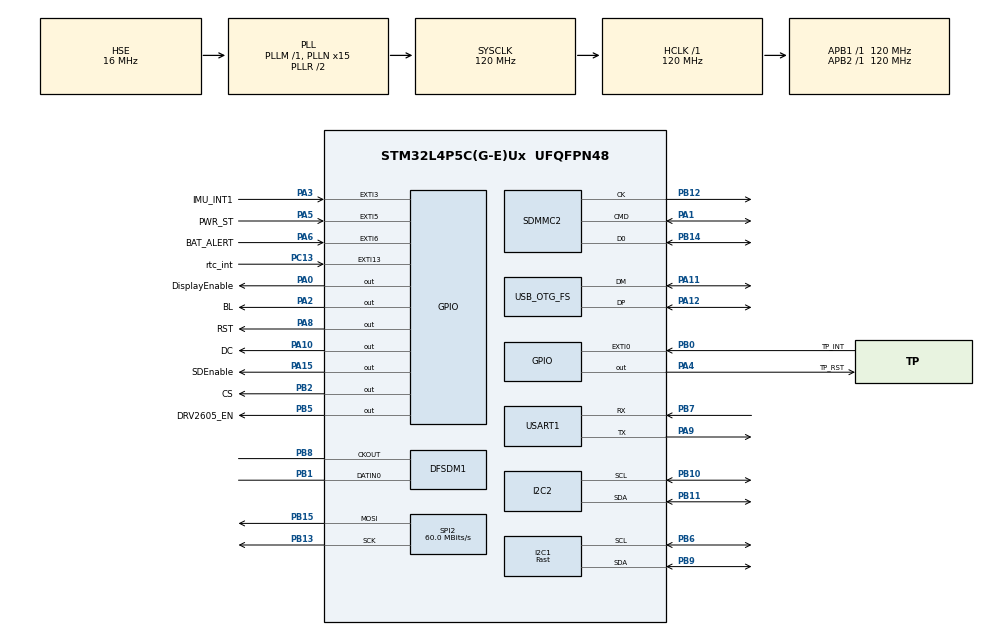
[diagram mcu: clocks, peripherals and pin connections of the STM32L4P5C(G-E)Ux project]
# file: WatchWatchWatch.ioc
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DFSDM1.Divider=60
DFSDM1.DmaMode_reg_FIL0=ENABLE
DFSDM1.FastMode_reg_FIL0=ENABLE
DFSDM1.Filter_regChannel_FIL0=DFSDM_CHANNEL_0
Dma.DFSDM1_FLT0.1.Direction=DMA_PERIPH_TO_MEMORY
Dma.DFSDM1_FLT0.1.EventEnable=DISABLE
Dma.DFSDM1_FLT0.1.Instance=DMA1_Channel2
Dma.DFSDM1_FLT0.1.MemDataAlignment=DMA_MDATAALIGN_WORD
Dma.DFSDM1_FLT0.1.MemInc=DMA_MINC_ENABLE
Dma.DFSDM1_FLT0.1.Mode=DMA_CIRCULAR
Dma.DFSDM1_FLT0.1.PeriphDataAlignment=DMA_PDATAALIGN_WORD
Dma.DFSDM1_FLT0.1.PeriphInc=DMA_PINC_DISABLE
Dma.DFSDM1_FLT0.1.Polarity=HAL_DMAMUX_REQ_GEN_RISING
Dma.DFSDM1_FLT0.1.Priority=DMA_PRIORITY_LOW
Dma.DFSDM1_FLT0.1.RequestNumber=1
Dma.DFSDM1_FLT0.1.SignalID=NONE
Dma.DFSDM1_FLT0.1.SyncEnable=DISABLE
Dma.DFSDM1_FLT0.1.SyncPolarity=HAL_DMAMUX_SYNC_NO_EVENT
Dma.DFSDM1_FLT0.1.SyncRequestNumber=1
Dma.DFSDM1_FLT0.1.SyncSignalID=NONE
Dma.Request0=SPI2_TX
Dma.Request1=DFSDM1_FLT0
Dma.SPI2_TX.0.Direction=DMA_MEMORY_TO_PERIPH
Dma.SPI2_TX.0.EventEnable=DISABLE
Dma.SPI2_TX.0.Instance=DMA1_Channel1
Dma.SPI2_TX.0.MemDataAlignment=DMA_MDATAALIGN_BYTE
Dma.SPI2_TX.0.MemInc=DMA_MINC_ENABLE
Dma.SPI2_TX.0.Mode=DMA_NORMAL
Dma.SPI2_TX.0.PeriphDataAlignment=DMA_PDATAALIGN_BYTE
Dma.SPI2_TX.0.PeriphInc=DMA_PINC_DISABLE
Dma.SPI2_TX.0.Polarity=HAL_DMAMUX_REQ_GEN_RISING
Dma.SPI2_TX.0.Priority=DMA_PRIORITY_LOW
Dma.SPI2_TX.0.RequestNumber=1
Dma.SPI2_TX.0.SignalID=NONE
Dma.SPI2_TX.0.SyncEnable=DISABLE
Dma.SPI2_TX.0.SyncPolarity=HAL_DMAMUX_SYNC_NO_EVENT
Dma.SPI2_TX.0.SyncRequestNumber=1
Dma.SPI2_TX.0.SyncSignalID=NONE
FATFS._USE_LFN=1
I2C1.I2C_Speed_Mode=I2C_Fast
I2C1.Timing=0x10B21F61
I2C2.Timing=0x30A175AB
Mcu.Family=STM32L4
Mcu.Name=STM32L4P5C(G-E)Ux
Mcu.Package=UFQFPN48
NVIC.DMA1_Channel1_IRQn=true\:0\:0\:false\:false\:true\:false\:true\:true
NVIC.DMA1_Channel2_IRQn=true\:0\:0\:false\:false\:true\:false\:true\:true
NVIC.EXTI0_IRQn=true\:0\:0\:false\:false\:true\:true\:true\:true
NVIC.EXTI15_10_IRQn=true\:0\:0\:false\:false\:true\:true\:true\:true
NVIC.EXTI3_IRQn=true\:0\:0\:false\:false\:true\:true\:true\:true
NVIC.EXTI9_5_IRQn=true\:0\:0\:false\:false\:true\:true\:true\:true
NVIC.OTG_FS_IRQn=true\:0\:0\:false\:false\:true\:true\:true\:true
NVIC.PriorityGroup=NVIC_PRIORITYGROUP_4
NVIC.SDMMC2_IRQn=true\:0\:0\:false\:false\:true\:true\:true\:true
NVIC.SPI2_IRQn=true\:0\:0\:false\:false\:true\:true\:true\:true
NVIC.USART1_IRQn=true\:0\:0\:false\:false\:true\:true\:true\:true
PA0.GPIO_Label=DisplayEnable
PA0.GPIO_Speed=GPIO_SPEED_FREQ_MEDIUM
PA0.PinState=GPIO_PIN_SET
PA0.Signal=GPIO_Output
PA1.Mode=SD_1_bit
PA1.Signal=SDMMC2_CMD
PA10.GPIO_Label=DC
PA10.GPIO_Speed=GPIO_SPEED_FREQ_HIGH
PA10.PinState=GPIO_PIN_SET
PA10.Signal=GPIO_Output
PA11.Mode=Device_Only
PA11.Signal=USB_OTG_FS_DM
PA12.Mode=Device_Only
PA12.Signal=USB_OTG_FS_DP
PA13\ (JTMS/SWDIO).Mode=Trace_Asynchronous_SW
PA13\ (JTMS/SWDIO).Signal=SYS_JTMS-SWDIO
PA14\ (JTCK/SWCLK).Mode=Trace_Asynchronous_SW
PA14\ (JTCK/SWCLK).Signal=SYS_JTCK-SWCLK
PA15\ (JTDI).GPIO_Label=SDEnable
PA15\ (JTDI).PinState=GPIO_PIN_SET
PA15\ (JTDI).Signal=GPIO_Output
PA2.GPIO_Label=BL
PA2.PinState=GPIO_PIN_SET
PA2.Signal=GPIO_Output
PA3.GPIO_Label=IMU_INT1
PA3.Signal=GPXTI3
PA4.GPIO_Label=TP_RST
PA4.GPIO_Speed=GPIO_SPEED_FREQ_HIGH
PA4.PinState=GPIO_PIN_SET
PA4.Signal=GPIO_Output
PA5.GPIO_Label=PWR_ST
PA5.Signal=GPXTI5
PA6.GPIO_Label=BAT_ALERT
PA6.Signal=GPXTI6
PA8.GPIO_Label=RST
PA8.GPIO_Speed=GPIO_SPEED_FREQ_HIGH
PA8.PinState=GPIO_PIN_SET
PA8.Signal=GPIO_Output
PA9.Mode=Asynchronous
PA9.Signal=USART1_TX
PB0.GPIO_Label=TP_INT
PB0.Signal=GPXTI0
PB1.Signal=S_DATAIN0DFSDM1
PB10.Mode=I2C
PB10.Signal=I2C2_SCL
PB11.Mode=I2C
PB11.Signal=I2C2_SDA
PB12.Mode=SD_1_bit
PB12.Signal=SDMMC2_CK
PB13.Mode=TX_Only_Simplex_Unidirect_Master
PB13.Signal=SPI2_SCK
PB14.Mode=SD_1_bit
PB14.Signal=SDMMC2_D0
PB15.Mode=TX_Only_Simplex_Unidirect_Master
PB15.Signal=SPI2_MOSI
PB2.GPIO_Label=CS
PB2.GPIO_Speed=GPIO_SPEED_FREQ_HIGH
PB2.Signal=GPIO_Output
PB3\ (JTDO/TRACESWO).Mode=Trace_Asynchronous_SW
PB3\ (JTDO/TRACESWO).Signal=SYS_JTDO-SWO
PB5.GPIO_Label=DRV2605_EN
PB5.Signal=GPIO_Output
PB6.Mode=I2C
PB6.Signal=I2C1_SCL
PB7.Mode=Asynchronous
PB7.Signal=USART1_RX
PB8.Signal=S_CKOUTDFSDM1
PB9.Mode=I2C
PB9.Signal=I2C1_SDA
PC13.GPIO_Label=rtc_int
PC13.GPIO_ModeDefaultEXTI=GPIO_MODE_IT_FALLING
PC13.Signal=GPXTI13
PC14-OSC32_IN\ (PC14).Mode=LSE-External-Oscillator
PC14-OSC32_IN\ (PC14).Signal=RCC_OSC32_IN
PC15-OSC32_OUT\ (PC15).Mode=LSE-External-Oscillator
PC15-OSC32_OUT\ (PC15).Signal=RCC_OSC32_OUT
PH0-OSC_IN\ (PH0).Mode=HSE-External-Oscillator
PH0-OSC_IN\ (PH0).Signal=RCC_OSC_IN
PH1-OSC_OUT\ (PH1).Mode=HSE-External-Oscillator
PH1-OSC_OUT\ (PH1).Signal=RCC_OSC_OUT
ProjectManager.HeapSize=0x200
ProjectManager.StackSize=0x400
ProjectManager.TargetToolchain=CMake
RCC.ADCFreq_Value=96000000
RCC.AHBFreq_Value=120000000
RCC.APB1Freq_Value=120000000
RCC.APB1TimFreq_Value=120000000
RCC.APB2Freq_Value=120000000
RCC.APB2TimFreq_Value=120000000
RCC.CortexFreq_Value=120000000
RCC.DFSDMCLockSelection=RCC_DFSDM1CLKSOURCE_SYSCLK
RCC.HCLKFreq_Value=120000000
RCC.HSE_VALUE=16000000
RCC.HSI48_VALUE=48000000
RCC.HSI_VALUE=16000000
RCC.MSI_VALUE=4000000
RCC.PLLN=15
RCC.PLLP=RCC_PLLP_DIV5
RCC.PLLSAI1N=12
RCC.PLLSAI1Q=RCC_PLLQ_DIV4
RCC.PLLSourceVirtual=RCC_PLLSOURCE_HSE
RCC.SYSCLKFreq_VALUE=120000000
RCC.SYSCLKSource=RCC_SYSCLKSOURCE_PLLCLK
RCC.USBFreq_Value=48000000
RCC.VCOOutputFreq_Value=240000000
SDMMC2.ClockDiv=1
SH.S_CKOUTDFSDM1.0=DFSDM1_CKOUT,PDM_SPI_input_from_ch0_and_internal_clock
SH.S_CKOUTDFSDM1.1=DFSDM1_CKOUT,CKOUT
SH.S_DATAIN0DFSDM1.0=DFSDM1_DATIN0,PDM_SPI_input_from_ch0_and_internal_clock
SPI2.BaudRatePrescaler=SPI_BAUDRATEPRESCALER_2
SPI2.CalculateBaudRate=60.0 MBits/s
SPI2.DataSize=SPI_DATASIZE_8BIT
SPI2.Direction=SPI_DIRECTION_2LINES
SPI2.Mode=SPI_MODE_MASTER
SPI2.VirtualType=VM_MASTER
USART1.VirtualMode-Asynchronous=VM_ASYNC
USB_OTG_FS.VirtualMode=Device_Only
VP_FATFS_VS_SDIO.Mode=SDIO
VP_RCC_USB.Mode=CRS SYNC Source USB
board=custom

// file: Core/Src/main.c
/* USER CODE BEGIN Header */
/**
  ******************************************************************************
  * @file           : main.c
  * @brief          : Main program body
  ******************************************************************************
  * @attention
  *
  * Copyright (c) 2026 STMicroelectronics.
  * All rights reserved.
  *
  * This software is licensed under terms that can be found in the LICENSE file
  * in the root directory of this software component.
  * If no LICENSE file comes with this software, it is provided AS-IS.
  *
  ******************************************************************************
  */
/* USER CODE END Header */
#include "main.h"
#include "dfsdm.h"
#include "dma.h"
#include "fatfs.h"
#include "i2c.h"
#include "sdmmc.h"
#include "spi.h"
#include "usart.h"
#include "usb_otg.h"
#include "gpio.h"

/* USER CODE BEGIN Includes */
#include <stdio.h>
#include "GUI_Paint.h"
#include "fonts.h"
#include "image.h"
#include "LCD_Test.h"
#include "DEV_Config.h"
#include "tusb.h"
#include "rv_3028_c7.h"
#include "lv_port_disp.h"
#include "lvgl/examples/anim/lv_example_anim.h"
#include "UI/ui.h"
#include "serial_cmd.h"
#include "lsm6dsv16x_stepcounter.h"
#include "lsm6dsv16x_reg.h"
#include "cst816t.h"
#include "lv_port_indev.h"
#include "sensors.h"
#include "ui_watch.h"
#include "mic.h"
#include "recorder.h"
#include "sound_detector.h"
#include "power_mon.h"
#include "rtc_tasks.h"
#include "uart_cmd.h"

/* USER CODE END Includes */

/* USER CODE BEGIN PTD */
rv3028_handle_t rtc_handle;        /* RV-3028-C7 RTC handle */

/* USER CODE END PTD */

/* USER CODE BEGIN PV */
extern I2C_HandleTypeDef hi2c1; // I2C handle
extern I2C_HandleTypeDef hi2c2; // touch I2C
extern UART_HandleTypeDef huart1;
uint32_t last_rtc_request_time = 0;
bool g_time_log = false;   /* "-log on" prints the time every second */
bool displayOn = false;
uint32_t display_turn_on_time = 0;

// Lookup table for 3-letter day names (1 = Monday, 7 = Sunday)
const char* days_of_week[] = { "", "Mon", "Tue", "Wed", "Thu", "Fri", "Sat", "Sun" };

#define RX_RING_BUFFER_SIZE 256

volatile uint8_t rx_buffer[RX_RING_BUFFER_SIZE];
volatile uint16_t rx_head = 0;
volatile uint16_t rx_tail = 0;

uint8_t uart1_rx_byte;

// Flags
volatile bool rtc_interrupt_fired = false;
volatile bool rtc_read_complete = false;
#define STEP_UPDATE_INTERVAL_MS   1000U   /* how often to poll/refresh ui_steps */

bool StepCounter_CheckWristTilt(void);
void StepCounter_IRQHandler(void);

/* USER CODE END PV */

void SystemClock_Config(void);

/* USER CODE BEGIN 0 */

void I2C_Scanner(I2C_HandleTypeDef *hi2c) {
    printf("Starting I2C Scanner...\r\n");
    fflush(stdout);
    tud_task();

    HAL_StatusTypeDef res;
    for (uint8_t i = 0; i < 128; i++) {
        res = HAL_I2C_IsDeviceReady(hi2c, (uint16_t)(i << 1), 3, 100);
        if (res == HAL_OK) {
            printf("Device found at address: 0x%02X\r\n", i);
            fflush(stdout);
        }
        tud_task();
    }
    printf("Scanner Complete.\r\n");
    fflush(stdout);
    tud_task();
}

void process_uart_to_usb(void)
{
    // Check if we have data and USB CDC is ready
    if (rx_head != rx_tail && tud_cdc_connected()) {
        uint32_t available_usb_space = tud_cdc_write_available();

        if (available_usb_space > 0) {
            uint8_t temp_buf[64];
            uint32_t count = 0;

            // Pull data from ring buffer
            while (rx_head != rx_tail && count < sizeof(temp_buf) && count < available_usb_space) {
                temp_buf[count++] = rx_buffer[rx_tail];
                rx_tail = (rx_tail + 1) % RX_RING_BUFFER_SIZE;
            }

            // Transmit over USB
            if (count > 0) {
                tud_cdc_write(temp_buf, count);
                tud_cdc_write_flush();
            }
        }
    }
}

void USB_Print(const char *format, ...)
{
    // Don't try to send if the USB isn't connected
    if (!tud_cdc_connected()) {
        return;
    }

    char buffer[128]; // Adjust buffer size if you plan to send very long strings
    va_list args;

    va_start(args, format);
    int len = vsnprintf(buffer, sizeof(buffer), format, args);
    va_end(args);

    if (len > 0) {
        tud_cdc_write(buffer, len);
        tud_cdc_write_flush(); // Force the data to send immediately
    }
}

void USB_Printf(const char *format, ...)
{
    if (!tud_cdc_connected()) return;

    char buffer[128]; // Temporary buffer

    va_list args;
    va_start(args, format);
    vsnprintf(buffer, sizeof(buffer), format, args);
    va_end(args);

    tud_cdc_write_str(buffer);
    tud_cdc_write_flush();
}

/* USER CODE END 0 */

int main(void)
{

  /* MCU Configuration--------------------------------------------------------*/

  /* Reset of all peripherals, Initializes the Flash interface and the Systick. */
  HAL_Init();

  /* Configure the system clock */
  SystemClock_Config();

  /* Initialize all configured peripherals */
  MX_GPIO_Init();
  MX_DMA_Init();
  MX_I2C2_Init();
  MX_SPI2_Init();
  MX_SDMMC2_SD_Init();
  MX_I2C1_Init();
  MX_USB_OTG_FS_PCD_Init();
  MX_USART1_UART_Init();
  MX_DFSDM1_Init();
  MX_FATFS_Init();
  /* USER CODE BEGIN 2 */
  HAL_GPIO_WritePin(BL_GPIO_Port, BL_Pin, GPIO_PIN_RESET);
  HAL_UART_Receive_IT(&huart1, &uart1_rx_byte, 1);

  UART_Cmd_Init(&huart1);

  lv_init();
  lv_port_disp_init();
  CST816T_Init(&hi2c2);          // touch controller (I2C2, INT on PB0)
  lv_port_indev_init();          // feed touch into LVGL
  //lv_example_anim_2();
  ui_init();
  UI_Watch_Init();               // extra pages + swipe navigation
  uint32_t last_step_update_time = 0;
  rv3028_init(&rtc_handle, &hi2c1); //
  bool step_sensor_ok = StepCounter_Init(&hi2c1);

  if (!step_sensor_ok) {

    lv_label_set_text(ui_steps, "--");
  }

  // Screen wake is now done by touch (see rtc_tasks.c), IMU tilt wake removed

  Sensors_Init();                // EEPROM settings, fuel gauge, HDC2010, BMP388, LIS3MDL, DRV2605L
  Power_Init();                  // PA5 USB power status, PA6 battery alert
  Mic_Init();                    // DFSDM: Sinc3 x125 -> 16 kHz, mic clock off until recording
  UI_SoundAI_Boot();             // sound alerts: load network, self-test, start listening

  // Set the initial time in your SquareLine image)
  rv3028_time_t initial_time = {
      .seconds = 0,
      .minutes = 33,
      .hours = 13, // 1:33 PM (using 24-hour format internally)
      .weekday = 2,
      .date = 7,
      .month = 7,
      .year = 26
  };
  // Only set the default time if the RTC has never been set (or lost power),
  // so a reset doesn't wipe the real time.
  rv3028_time_t rtc_now;
  if (rv3028_get_time(&rtc_handle, &rtc_now) != HAL_OK || rtc_now.year < 26 ||
      rtc_now.month < 1 || rtc_now.month > 12) {
    rv3028_set_time(&rtc_handle, &initial_time);
  } else {
    initial_time = rtc_now;
  }

  tusb_rhport_init_t dev_init = {
    .role = TUSB_ROLE_DEVICE,
    .speed = TUSB_SPEED_FULL
  };

  tusb_init(0, &dev_init);

  uint32_t start_time = HAL_GetTick();
  while (!tud_cdc_connected() && (HAL_GetTick() - start_time < 2000)) {
      tud_task(); // Keep processing USB events while waiting
  }

  char init_time_buf[16];
  uint8_t init_hour = initial_time.hours % 12;
  if (init_hour == 0) init_hour = 12;
  snprintf(init_time_buf, sizeof(init_time_buf), "%d:%02d", init_hour, initial_time.minutes);
  lv_label_set_text(ui_Time, init_time_buf);
  USB_Print("testing...\r\n");

  /* USER CODE END 2 */

  /* Infinite loop */
  while (1)
  {

    /* USER CODE BEGIN 3 */
    tud_task();
    CST816T_Process();       // read touch before LVGL / wake logic use it
    lv_timer_handler();
    Process_Serial_Commands();
    Process_UART_Commands();   // nRF52 UART commands
    process_uart_to_usb();
    rtc_tasks(&rtc_handle); // Touch-wake, RTC update, and display timer logic
    Sensors_Task();         // battery, temp/humidity, pressure, compass, haptics
    UI_Watch_Task();        // page updates, countdown timer, notifications
    Recorder_Task();        // mic audio -> WAV file on flash
    SD_Task();              // sound alerts: features + network every 0.48 s
    Power_Task();           // USB plug/unplug, low battery alert

    if (step_sensor_ok && (HAL_GetTick() - last_step_update_time >= STEP_UPDATE_INTERVAL_MS)) {
      last_step_update_time = HAL_GetTick();
      lv_label_set_text_fmt(ui_steps, "%u", StepCounter_GetSteps());
        const char *current_text = lv_label_get_text(ui_Time);
        strcpy(init_time_buf, current_text);
        // Send your text with a newline
        if (g_time_log) USB_Printf("current time: %s\r\n", current_text);
    }

  }
  /* USER CODE END 3 */
}

void SystemClock_Config(void)
{
  RCC_OscInitTypeDef RCC_OscInitStruct = {0};
  RCC_ClkInitTypeDef RCC_ClkInitStruct = {0};
  RCC_CRSInitTypeDef RCC_CRSInitStruct = {0};

  /** Configure the main internal regulator output voltage
  */
  if (HAL_PWREx_ControlVoltageScaling(PWR_REGULATOR_VOLTAGE_SCALE1_BOOST) != HAL_OK)
  {
    Error_Handler();
  }

  /** Initializes the RCC Oscillators according to the specified parameters
  * in the RCC_OscInitTypeDef structure.
  */
  RCC_OscInitStruct.OscillatorType = RCC_OSCILLATORTYPE_HSI48|RCC_OSCILLATORTYPE_HSE;
  RCC_OscInitStruct.HSEState = RCC_HSE_ON;
  RCC_OscInitStruct.HSI48State = RCC_HSI48_ON;
  RCC_OscInitStruct.PLL.PLLState = RCC_PLL_ON;
  RCC_OscInitStruct.PLL.PLLSource = RCC_PLLSOURCE_HSE;
  RCC_OscInitStruct.PLL.PLLM = 1;
  RCC_OscInitStruct.PLL.PLLN = 15;
  RCC_OscInitStruct.PLL.PLLP = RCC_PLLP_DIV5;
  RCC_OscInitStruct.PLL.PLLQ = RCC_PLLQ_DIV2;
  RCC_OscInitStruct.PLL.PLLR = RCC_PLLR_DIV2;
  if (HAL_RCC_OscConfig(&RCC_OscInitStruct) != HAL_OK)
  {
    Error_Handler();
  }

  /** Initializes the CPU, AHB and APB buses clocks
  */
  RCC_ClkInitStruct.ClockType = RCC_CLOCKTYPE_HCLK|RCC_CLOCKTYPE_SYSCLK
                              |RCC_CLOCKTYPE_PCLK1|RCC_CLOCKTYPE_PCLK2;
  RCC_ClkInitStruct.SYSCLKSource = RCC_SYSCLKSOURCE_PLLCLK;
  RCC_ClkInitStruct.AHBCLKDivider = RCC_SYSCLK_DIV1;
  RCC_ClkInitStruct.APB1CLKDivider = RCC_HCLK_DIV1;
  RCC_ClkInitStruct.APB2CLKDivider = RCC_HCLK_DIV1;

  if (HAL_RCC_ClockConfig(&RCC_ClkInitStruct, FLASH_LATENCY_5) != HAL_OK)
  {
    Error_Handler();
  }

  /** Enable the SYSCFG APB clock
  */
  __HAL_RCC_CRS_CLK_ENABLE();

  /** Configures CRS
  */
  RCC_CRSInitStruct.Prescaler = RCC_CRS_SYNC_DIV1;
  RCC_CRSInitStruct.Source = RCC_CRS_SYNC_SOURCE_USB;
  RCC_CRSInitStruct.Polarity = RCC_CRS_SYNC_POLARITY_RISING;
  RCC_CRSInitStruct.ReloadValue = __HAL_RCC_CRS_RELOADVALUE_CALCULATE(48000000,1000);
  RCC_CRSInitStruct.ErrorLimitValue = 34;
  RCC_CRSInitStruct.HSI48CalibrationValue = 32;

  HAL_RCCEx_CRSConfig(&RCC_CRSInitStruct);
}

/* USER CODE BEGIN 4 */
// STM32 EXTI Callback - Fires when the rtc_int pin changes state
void HAL_GPIO_EXTI_Callback(uint16_t GPIO_Pin)
{
    // Check if the pin that triggered the interrupt is your rtc_int pin
    if (GPIO_Pin == rtc_int_Pin) {
        rtc_interrupt_fired = true;
    }

    if (GPIO_Pin == TP_INT_Pin) {
      CST816T_OnExti();
    }

    if (GPIO_Pin == PWR_ST_Pin || GPIO_Pin == BAT_ALERT_Pin) {
      Power_OnExti(GPIO_Pin);
    }

}

// I2C Rx Complete Callback - Fires when the background time read is done
void HAL_I2C_MasterRxCpltCallback(I2C_HandleTypeDef *hi2c)
{
    if (hi2c->Instance == I2C1) {
        rtc_read_complete = true;
    }

}

void HAL_UART_RxCpltCallback(UART_HandleTypeDef *huart)
{
    // Make sure the interrupt is coming from UART1
    if (huart->Instance == USART1) {

        // COMMAND PARSER!
        UART_Cmd_FeedByte(uart1_rx_byte);

        // existing USB pass-through logic
        uint16_t next_head = (rx_head + 1) % RX_RING_BUFFER_SIZE;
        if (next_head != rx_tail) {
            rx_buffer[rx_head] = uart1_rx_byte;
            rx_head = next_head;
        }

        // Re-arm the interrupt
        HAL_UART_Receive_IT(&huart1, &uart1_rx_byte, 1);
    }
}

/* USER CODE END 4 */

void Error_Handler(void)
{
  __disable_irq();
  while (1)
  {
  }
}
